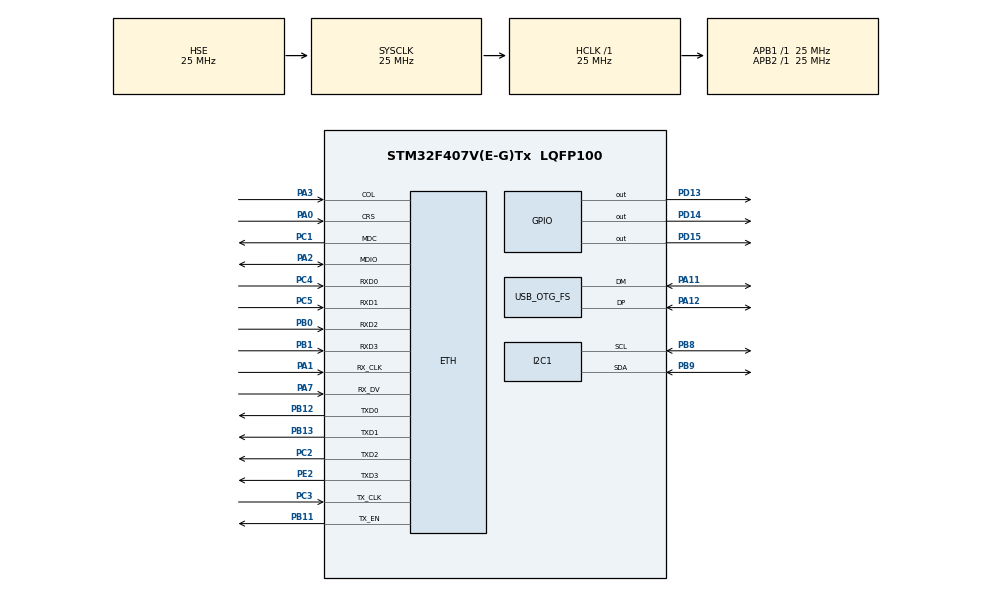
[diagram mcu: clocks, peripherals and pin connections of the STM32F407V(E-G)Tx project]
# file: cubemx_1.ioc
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ETH.MediaInterface=ETH_MEDIA_INTERFACE_MII
FREERTOS.Mutexes01=global_mutex,Dynamic,NULL
FREERTOS.Tasks01=task_1,24,4096,start_task_1,Default,NULL,Dynamic,NULL,NULL;task_2,24,1024,start_task_2,Default,NULL,Dynamic,NULL,NULL
FREERTOS.Timers01=global_timer,global_timer_callback,osTimerPeriodic,Default,NULL,Dynamic,NULL
FREERTOS.configCHECK_FOR_STACK_OVERFLOW=1
FREERTOS.configTOTAL_HEAP_SIZE=24000
LWIP.Version=v2.0.3_Cube
Mcu.Family=STM32F4
Mcu.Name=STM32F407V(E-G)Tx
Mcu.Package=LQFP100
NVIC.ETH_IRQn=true\:5\:0\:false\:false\:true\:true\:false\:true
NVIC.OTG_FS_IRQn=true\:5\:0\:false\:false\:true\:true\:false\:true
NVIC.PriorityGroup=NVIC_PRIORITYGROUP_4
NVIC.TIM1_UP_TIM10_IRQn=true\:0\:0\:false\:false\:true\:false\:false\:true
NVIC.TimeBase=TIM1_UP_TIM10_IRQn
NVIC.TimeBaseIP=TIM1
PA0-WKUP.Mode=MII
PA0-WKUP.Signal=ETH_CRS
PA1.Mode=MII
PA1.Signal=ETH_RX_CLK
PA11.Mode=Device_Only
PA11.Signal=USB_OTG_FS_DM
PA12.Mode=Device_Only
PA12.Signal=USB_OTG_FS_DP
PA13.Mode=JTAG_5_pins
PA13.Signal=SYS_JTMS-SWDIO
PA14.Mode=JTAG_5_pins
PA14.Signal=SYS_JTCK-SWCLK
PA15.Mode=JTAG_5_pins
PA15.Signal=SYS_JTDI
PA2.Mode=MII
PA2.Signal=ETH_MDIO
PA3.Mode=MII
PA3.Signal=ETH_COL
PA7.Mode=MII
PA7.Signal=ETH_RX_DV
PB0.Mode=MII
PB0.Signal=ETH_RXD2
PB1.Mode=MII
PB1.Signal=ETH_RXD3
PB11.Mode=MII
PB11.Signal=ETH_TX_EN
PB12.Mode=MII
PB12.Signal=ETH_TXD0
PB13.Mode=MII
PB13.Signal=ETH_TXD1
PB3.Mode=JTAG_5_pins
PB3.Signal=SYS_JTDO-SWO
PB4.Mode=JTAG_5_pins
PB4.Signal=SYS_JTRST
PB8.Mode=I2C
PB8.Signal=I2C1_SCL
PB9.Mode=I2C
PB9.Signal=I2C1_SDA
PC1.Mode=MII
PC1.Signal=ETH_MDC
PC2.Mode=MII
PC2.Signal=ETH_TXD2
PC3.Mode=MII
PC3.Signal=ETH_TX_CLK
PC4.Mode=MII
PC4.Signal=ETH_RXD0
PC5.Mode=MII
PC5.Signal=ETH_RXD1
PD13.Signal=GPIO_Output
PD14.Signal=GPIO_Output
PD15.Signal=GPIO_Output
PE2.Mode=MII
PE2.Signal=ETH_TXD3
PH0-OSC_IN.Mode=HSE-External-Oscillator
PH0-OSC_IN.Signal=RCC_OSC_IN
PH1-OSC_OUT.Mode=HSE-External-Oscillator
PH1-OSC_OUT.Signal=RCC_OSC_OUT
ProjectManager.HeapSize=0x200
ProjectManager.StackSize=0x400
ProjectManager.TargetToolchain=SW4STM32
RCC.48MHZClocksFreq_Value=48000000
RCC.AHBFreq_Value=25000000
RCC.APB1Freq_Value=25000000
RCC.APB1TimFreq_Value=25000000
RCC.APB2Freq_Value=25000000
RCC.APB2TimFreq_Value=25000000
RCC.CortexFreq_Value=25000000
RCC.HCLKFreq_Value=25000000
RCC.HSE_VALUE=25000000
RCC.HSI_VALUE=16000000
RCC.LSE_VALUE=32768
RCC.PLLM=15
RCC.PLLN=144
RCC.PLLQ=5
RCC.SYSCLKFreq_VALUE=25000000
RCC.SYSCLKSource=RCC_SYSCLKSOURCE_HSE
RCC.VCOOutputFreq_Value=240000000
USB_DEVICE.CLASS_NAME_FS=CDC
USB_DEVICE.VirtualMode-CDC_FS=Cdc
USB_DEVICE.VirtualModeFS=Cdc_FS
USB_OTG_FS.VirtualMode=Device_Only
VP_FREERTOS_VS_CMSIS_V2.Mode=CMSIS_V2
VP_LWIP_VS_Enabled.Mode=Enabled
VP_SYS_VS_tim1.Mode=TIM1
VP_USB_DEVICE_VS_USB_DEVICE_CDC_FS.Mode=CDC_FS
board=custom

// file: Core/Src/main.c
/* USER CODE BEGIN Header */
/**
  ******************************************************************************
  * @file           : main.c
  * @brief          : Main program body
  ******************************************************************************
  * @attention
  *
  * <h2><center>&copy; Copyright (c) 2019 STMicroelectronics.
  * All rights reserved.</center></h2>
  *
  * This software component is licensed by ST under BSD 3-Clause license,
  * the "License"; You may not use this file except in compliance with the
  * License. You may obtain a copy of the License at:
  *                        opensource.org/licenses/BSD-3-Clause
  *
  ******************************************************************************
  */
/* USER CODE END Header */

#include "main.h"
#include "cmsis_os.h"
#include "i2c.h"
#include "lwip.h"
#include "usb_device.h"
#include "gpio.h"

/* USER CODE BEGIN Includes */
#include "oled.h"
#include "fonts.h"
#include "keyboard.h"
/* USER CODE END Includes */

void SystemClock_Config(void);
void MX_FREERTOS_Init(void);

int main(void)
{

  /* MCU Configuration--------------------------------------------------------*/

  /* Reset of all peripherals, Initializes the Flash interface and the Systick. */
  HAL_Init();

  /* Configure the system clock */
  SystemClock_Config();

  /* Initialize all configured peripherals */
  MX_GPIO_Init();
  MX_I2C1_Init();
  /* USER CODE BEGIN 2 */

  oled_Init();
  keyboard_Init();
  /* USER CODE END 2 */

  /* Call init function for freertos objects (in freertos.c) */
  MX_FREERTOS_Init();

  /* Start scheduler */
  osKernelStart();

  /* We should never get here as control is now taken by the scheduler */

  /* Infinite loop */
  while (1)
  {

    /* USER CODE BEGIN 3 */
#if 1
	  keyboard_key_set key_set;
		int i;
		int rc;
		char display_str[40] = "error";

		rc = keyboard_Get(&key_set);
		if (rc == 0)
		{
			for (i = 0; i < 12; i++)
			{
				display_str[11 - i] = key_set % 2 == 0 ? '0' : '1';
				key_set >>= 1;
			}
			display_str[12] = '\0';
		}

		//HAL_GPIO_TogglePin(GPIOD, GPIO_PIN_13);
		oled_SetCursor(0, 0);
		oled_Fill(Black);
		oled_WriteString(display_str, Font_7x10, White);
		//oled_WriteString((i++ % 2) == 0 ? "kek" : "lol", Font_16x26, White);
		oled_UpdateScreen();
		HAL_Delay(5);
#else
	  HAL_GPIO_TogglePin(GPIOD, GPIO_PIN_13);
	      HAL_Delay(500);
	      HAL_GPIO_TogglePin(GPIOD, GPIO_PIN_13);
	      HAL_Delay(500);
	      HAL_GPIO_TogglePin(GPIOD, GPIO_PIN_14);
	      HAL_Delay(500);
	      HAL_GPIO_TogglePin(GPIOD, GPIO_PIN_14);
	      HAL_Delay(500);
	      HAL_GPIO_TogglePin(GPIOD, GPIO_PIN_15);
	      HAL_Delay(500);
	      HAL_GPIO_TogglePin(GPIOD, GPIO_PIN_15);
	      HAL_Delay(500);
#endif
  }
  /* USER CODE END 3 */
}

void SystemClock_Config(void)
{
  RCC_OscInitTypeDef RCC_OscInitStruct = {0};
  RCC_ClkInitTypeDef RCC_ClkInitStruct = {0};

  /** Configure the main internal regulator output voltage
  */
  __HAL_RCC_PWR_CLK_ENABLE();
  __HAL_PWR_VOLTAGESCALING_CONFIG(PWR_REGULATOR_VOLTAGE_SCALE1);
  /** Initializes the CPU, AHB and APB busses clocks
  */
  RCC_OscInitStruct.OscillatorType = RCC_OSCILLATORTYPE_HSE;
  RCC_OscInitStruct.HSEState = RCC_HSE_ON;
  RCC_OscInitStruct.PLL.PLLState = RCC_PLL_ON;
  RCC_OscInitStruct.PLL.PLLSource = RCC_PLLSOURCE_HSE;
  RCC_OscInitStruct.PLL.PLLM = 15;
  RCC_OscInitStruct.PLL.PLLN = 144;
  RCC_OscInitStruct.PLL.PLLP = RCC_PLLP_DIV2;
  RCC_OscInitStruct.PLL.PLLQ = 5;
  if (HAL_RCC_OscConfig(&RCC_OscInitStruct) != HAL_OK)
  {
    Error_Handler();
  }
  /** Initializes the CPU, AHB and APB busses clocks
  */
  RCC_ClkInitStruct.ClockType = RCC_CLOCKTYPE_HCLK|RCC_CLOCKTYPE_SYSCLK
                              |RCC_CLOCKTYPE_PCLK1|RCC_CLOCKTYPE_PCLK2;
  RCC_ClkInitStruct.SYSCLKSource = RCC_SYSCLKSOURCE_HSE;
  RCC_ClkInitStruct.AHBCLKDivider = RCC_SYSCLK_DIV1;
  RCC_ClkInitStruct.APB1CLKDivider = RCC_HCLK_DIV1;
  RCC_ClkInitStruct.APB2CLKDivider = RCC_HCLK_DIV1;

  if (HAL_RCC_ClockConfig(&RCC_ClkInitStruct, FLASH_LATENCY_0) != HAL_OK)
  {
    Error_Handler();
  }
}

void HAL_TIM_PeriodElapsedCallback(TIM_HandleTypeDef *htim)
{
  if (htim->Instance == TIM1) {
    HAL_IncTick();
  }
}

void Error_Handler(void)
{
}

/************************ (C) COPYRIGHT STMicroelectronics *****END OF FILE****/

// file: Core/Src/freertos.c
/* USER CODE BEGIN Header */
/**
  ******************************************************************************
  * File Name          : freertos.c
  * Description        : Code for freertos applications
  ******************************************************************************
  * @attention
  *
  * <h2><center>&copy; Copyright (c) 2019 STMicroelectronics.
  * All rights reserved.</center></h2>
  *
  * This software component is licensed by ST under Ultimate Liberty license
  * SLA0044, the "License"; You may not use this file except in compliance with
  * the License. You may obtain a copy of the License at:
  *                             www.st.com/SLA0044
  *
  ******************************************************************************
  */
/* USER CODE END Header */

#include "FreeRTOS.h"
#include "task.h"
#include "main.h"
#include "cmsis_os.h"

/* USER CODE BEGIN Includes */
#include "gpio.h"
#include "oled.h"
#include "fonts.h"
#include "keyboard.h"
#include "../snk/snk.h"
#include "../snk/snk_util.h"
#include "usbd_cdc_if.h"
#include "ip_addr.h"
#include "api.h"
/* USER CODE END Includes */

/* USER CODE BEGIN PD */
#define MAX_GLOABL_QUEUE_MSG_COUNT 100
#define MAX_GLOABL_QUEUE_MSG_SIZE 1
#define MAX_TIMER_QUEUE_MSG_COUNT 100
#define MAX_TIMER_QUEUE_MSG_SIZE 1
/* USER CODE END PD */

/* USER CODE BEGIN Variables */
osMessageQueueId_t global_queue;
osMessageQueueId_t timer_queue;
/* USER CODE END Variables */
osThreadId_t task_1Handle;
osThreadId_t task_2Handle;
osTimerId_t global_timerHandle;
osMutexId_t global_mutexHandle;

void start_task_1(void *argument);
void start_task_2(void *argument);
void global_timer_callback(void *argument);

extern void MX_USB_DEVICE_Init(void);
extern void MX_LWIP_Init(void);
void MX_FREERTOS_Init(void); /* (MISRA C 2004 rule 8.1) */

/* Hook prototypes */
void vApplicationStackOverflowHook(xTaskHandle xTask, signed char *pcTaskName);

/* USER CODE BEGIN 4 */
__weak void vApplicationStackOverflowHook(xTaskHandle xTask, signed char *pcTaskName)
{
   /* Run time stack overflow checking is performed if
   configCHECK_FOR_STACK_OVERFLOW is defined to 1 or 2. This hook function is
   called if a stack overflow is detected. */
	while (1)
	{
		HAL_GPIO_TogglePin(GPIOD, GPIO_PIN_15);
		HAL_Delay(500);
	}
}

void myHook(int n)
{
	vTaskSuspendAll();
	while (1)
	{
		for (int i = 0; i < n * 2; i++)
		{
			HAL_GPIO_TogglePin(GPIOD, GPIO_PIN_15);
			HAL_Delay(500);
		}
		HAL_Delay(1000);
	}
}
/* USER CODE END 4 */

void MX_FREERTOS_Init(void) {
osKernelInitialize();

  /* Create the mutex(es) */
  /* definition and creation of global_mutex */
  const osMutexAttr_t global_mutex_attributes = {
    .name = "global_mutex"
  };
  global_mutexHandle = osMutexNew(&global_mutex_attributes);

  /* Create the timer(s) */
  /* definition and creation of global_timer */
  const osTimerAttr_t global_timer_attributes = {
    .name = "global_timer"
  };
  global_timerHandle = osTimerNew(global_timer_callback, osTimerPeriodic, NULL, &global_timer_attributes);

  /* Create the thread(s) */
  /* definition and creation of task_1 */
  const osThreadAttr_t task_1_attributes = {
    .name = "task_1",
    .priority = (osPriority_t) osPriorityNormal,
    .stack_size = 4096
  };
  task_1Handle = osThreadNew(start_task_1, NULL, &task_1_attributes);

  /* definition and creation of task_2 */
  const osThreadAttr_t task_2_attributes = {
    .name = "task_2",
    .priority = (osPriority_t) osPriorityNormal,
    .stack_size = 1024
  };
  task_2Handle = osThreadNew(start_task_2, NULL, &task_2_attributes);

  /* USER CODE BEGIN RTOS_THREADS */
  osTimerStart(global_timerHandle, 100);
  global_queue = osMessageQueueNew(MAX_GLOABL_QUEUE_MSG_COUNT, MAX_GLOABL_QUEUE_MSG_SIZE, NULL);
  timer_queue = osMessageQueueNew(MAX_TIMER_QUEUE_MSG_COUNT, MAX_TIMER_QUEUE_MSG_SIZE, NULL);
  /* add threads, ... */
  /* USER CODE END RTOS_THREADS */

}

void start_task_1(void *argument)
{

  /* init code for USB_DEVICE */
  MX_USB_DEVICE_Init();

  /* init code for LWIP */
  MX_LWIP_Init();

  struct netconn* conn;
  ip4_addr_t addr = IPADDR4_INIT_BYTES(10, 10, 10, 10);
  conn = netconn_new(NETCONN_TCP);
  err_t rc;
  uint8_t data[8] = {0, 1, 2, 3, 4, 5, 6, 7};

  if (conn == NULL)
	  myHook(1);

  rc = netconn_connect(conn, &addr, 0);
  if (rc != ERR_OK)
	  myHook(-rc);
  else
	  myHook(10);

#if 0
  rc = netconn_write(conn, data, sizeof(data), 0);
  if (rc != ERR_OK)
	  myHook(3);
#endif

  /* USER CODE BEGIN start_task_1 */
	 uint8_t buf[MAX_GLOABL_QUEUE_MSG_SIZE] = {0};
		  //snk_field_obstacle obstacles[] = {{{0, 0}, {5, 0}}};
		  snk_position start_position = {5, 5};
		  snk_process process;
		  snk_field field;
		  uint8_t draw_data[2048];

		  snk_create_field(42, 20, 0, NULL, 1, &field);

		  snk_create(&field, &start_position, SNK_DIRECTION_RIGHT, 5, &process);

	  /* Infinite loop */
	  for(;;)
	  {
		  if (osMessageQueueGet(global_queue, buf, 0, 10) == osOK)
		  {
			  snk_choose_direction(&process, buf[0]);
		  }
		  if (osMessageQueueGet(timer_queue, buf, 0, 10) == osOK)
		  {
			  snk_next_tick(&process);
			  snk_render(&process, draw_data, sizeof(draw_data));
			  oled_SetCursor(0, 0);
			  oled_Fill(Black);
			  oled_DrawData(draw_data, field.width, field.height);
			  oled_UpdateScreen();
		  }

	  }
  /* USER CODE END start_task_1 */
}

void start_task_2(void *argument)
{
  /* USER CODE BEGIN start_task_2 */
	uint8_t buf[MAX_GLOABL_QUEUE_MSG_SIZE] = {0};
    snk_direction new_direction;
    keyboard_key_set key_set_old;
    keyboard_key_set key_set_new;
    keyboard_key_set key_set;
	//int i;
	int rc;
	keyboard_Get(&key_set_old);

	while (1)
	{
		osDelay(10);
		rc = keyboard_Get(&key_set_new);
		//rc = 1;
		if (rc == 0 && key_set_new != key_set_old)
		{
			key_set = (~key_set_old) & key_set_new;
			key_set_old = key_set_new;
			if (keyboard_key_is_in_set(KEYBOARD_KEY_1, &key_set))
			{
				new_direction = SNK_DIRECTION_UP;
			}
			else if (keyboard_key_is_in_set(KEYBOARD_KEY_3, &key_set))
			{
				new_direction = SNK_DIRECTION_LEFT;
			}
			else if (keyboard_key_is_in_set(KEYBOARD_KEY_4, &key_set))
			{
				new_direction = SNK_DIRECTION_DOWN;
			}
			else if (keyboard_key_is_in_set(KEYBOARD_KEY_5, &key_set))
			{
				new_direction = SNK_DIRECTION_RIGHT;
			}
			else
			{
				continue;
			}
			buf[0] = new_direction;
			osMessageQueuePut(global_queue, buf, 0, 5000);
		}
	}
  /* USER CODE END start_task_2 */
}

/* global_timer_callback function */
void global_timer_callback(void *argument)
{
  /* USER CODE BEGIN global_timer_callback */
	uint8_t buf[MAX_TIMER_QUEUE_MSG_SIZE] = {0};
	osMessageQueuePut(timer_queue, buf, 0, 5000);
	//CDC_Transmit_FS("kek\r\n", 5);

  /* USER CODE END global_timer_callback */
}

/************************ (C) COPYRIGHT STMicroelectronics *****END OF FILE****/
